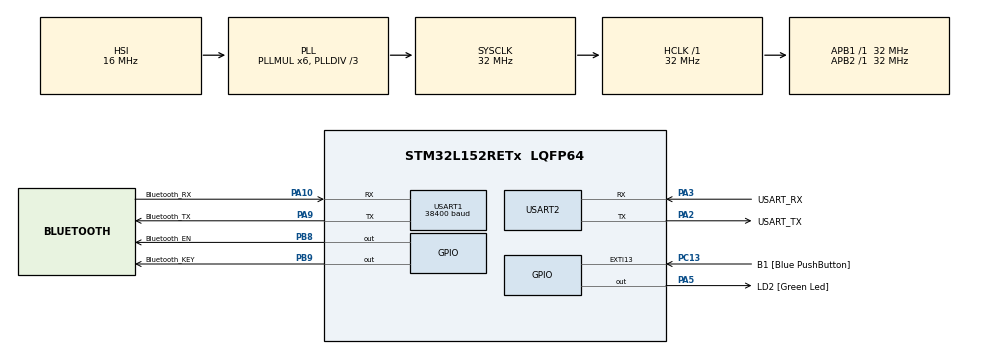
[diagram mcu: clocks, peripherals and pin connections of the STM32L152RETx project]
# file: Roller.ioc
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Mcu.Family=STM32L1
Mcu.Name=STM32L152RETx
Mcu.Package=LQFP64
NVIC.PriorityGroup=NVIC_PRIORITYGROUP_0
NVIC.USART1_IRQn=true\:0\:0\:false\:false\:true\:true
PA10.GPIO_Label=Bluetooth_RX
PA10.Mode=Asynchronous
PA10.Signal=USART1_RX
PA13.GPIO_Label=TMS
PA13.Mode=Serial_Wire
PA13.Signal=SYS_JTMS-SWDIO
PA14.GPIO_Label=TCK
PA14.Mode=Serial_Wire
PA14.Signal=SYS_JTCK-SWCLK
PA2.GPIO_Label=USART_TX
PA2.Mode=Asynchronous
PA2.Signal=USART2_TX
PA3.GPIO_Label=USART_RX
PA3.Mode=Asynchronous
PA3.Signal=USART2_RX
PA5.GPIO_Label=LD2 [Green Led]
PA5.Signal=GPIO_Output
PA9.GPIO_Label=Bluetooth_TX
PA9.Mode=Asynchronous
PA9.Signal=USART1_TX
PB3.GPIO_Label=SWO
PB3.Signal=SYS_JTDO-TRACESWO
PB8.GPIO_Label=Bluetooth_EN
PB8.Signal=GPIO_Output
PB9.GPIO_Label=Bluetooth_KEY
PB9.Signal=GPIO_Output
PC13-WKUP2.GPIO_Label=B1 [Blue PushButton]
PC13-WKUP2.Signal=GPXTI13
PC14-OSC32_IN.Mode=LSE-External-Oscillator
PC14-OSC32_IN.Signal=RCC_OSC32_IN
PC15-OSC32_OUT.Mode=LSE-External-Oscillator
PC15-OSC32_OUT.Signal=RCC_OSC32_OUT
PH0-OSC_IN.Mode=HSE-External-Clock-Source
PH0-OSC_IN.Signal=RCC_OSC_IN
PH1-OSC_OUT.Signal=RCC_OSC_OUT
ProjectManager.HeapSize=0x200
ProjectManager.StackSize=0x400
ProjectManager.TargetToolchain=MDK-ARM V5
RCC.48MHZClocksFreq_Value=48000000
RCC.AHBFreq_Value=32000000
RCC.APB1Freq_Value=32000000
RCC.APB1TimFreq_Value=32000000
RCC.APB2Freq_Value=32000000
RCC.APB2TimFreq_Value=32000000
RCC.HCLKFreq_Value=32000000
RCC.HSE_VALUE=8000000
RCC.HSI_VALUE=16000000
RCC.MSI_VALUE=2097000
RCC.PLLDIV=RCC_PLL_DIV3
RCC.PLLMUL=RCC_PLL_MUL6
RCC.RTCClockSelectionVirtual=RCC_RTCCLKSOURCE_LSE
RCC.SYSCLKFreq_VALUE=32000000
RCC.SYSCLKSource=RCC_SYSCLKSOURCE_PLLCLK
RCC.USBOutput=48000000
RCC.VCOOutputFreq_Value=96000000
USART1.BaudRate=38400
USART1.VirtualMode=VM_ASYNC
USART2.VirtualMode=VM_ASYNC
board=NUCLEO-L152RE

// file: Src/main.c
/* USER CODE BEGIN Header */
/**
  ******************************************************************************
  * @file           : main.c
  * @brief          : Main program body
  ******************************************************************************
  ** This notice applies to any and all portions of this file
  * that are not between comment pairs USER CODE BEGIN and
  * USER CODE END. Other portions of this file, whether
  * inserted by the user or by software development tools
  * are owned by their respective copyright owners.
  *
  * COPYRIGHT(c) 2020 STMicroelectronics
  *
  * Redistribution and use in source and binary forms, with or without modification,
  * are permitted provided that the following conditions are met:
  *   1. Redistributions of source code must retain the above copyright notice,
  *      this list of conditions and the following disclaimer.
  *   2. Redistributions in binary form must reproduce the above copyright notice,
  *      this list of conditions and the following disclaimer in the documentation
  *      and/or other materials provided with the distribution.
  *   3. Neither the name of STMicroelectronics nor the names of its contributors
  *      may be used to endorse or promote products derived from this software
  *      without specific prior written permission.
  *
  * THIS SOFTWARE IS PROVIDED BY THE COPYRIGHT HOLDERS AND CONTRIBUTORS "AS IS"
  * AND ANY EXPRESS OR IMPLIED WARRANTIES, INCLUDING, BUT NOT LIMITED TO, THE
  * IMPLIED WARRANTIES OF MERCHANTABILITY AND FITNESS FOR A PARTICULAR PURPOSE ARE
  * DISCLAIMED. IN NO EVENT SHALL THE COPYRIGHT HOLDER OR CONTRIBUTORS BE LIABLE
  * FOR ANY DIRECT, INDIRECT, INCIDENTAL, SPECIAL, EXEMPLARY, OR CONSEQUENTIAL
  * DAMAGES (INCLUDING, BUT NOT LIMITED TO, PROCUREMENT OF SUBSTITUTE GOODS OR
  * SERVICES; LOSS OF USE, DATA, OR PROFITS; OR BUSINESS INTERRUPTION) HOWEVER
  * CAUSED AND ON ANY THEORY OF LIABILITY, WHETHER IN CONTRACT, STRICT LIABILITY,
  * OR TORT (INCLUDING NEGLIGENCE OR OTHERWISE) ARISING IN ANY WAY OUT OF THE USE
  * OF THIS SOFTWARE, EVEN IF ADVISED OF THE POSSIBILITY OF SUCH DAMAGE.
  *
  ******************************************************************************
  */
/* USER CODE END Header */

#include "main.h"

UART_HandleTypeDef huart1;
UART_HandleTypeDef huart2;

void SystemClock_Config(void);
static void MX_GPIO_Init(void);
static void MX_USART2_UART_Init(void);
static void MX_USART1_UART_Init(void);
/* USER CODE BEGIN PFP */
static uint8_t * at_command(uint8_t input[100]);
/* USER CODE END PFP */

/* USER CODE BEGIN 0 */

#ifdef __GNUC__
  /* With GCC/RAISONANCE, small printf (option LD Linker->Libraries->Small printf
     set to 'Yes') calls __io_putchar() */
  #define PUTCHAR_PROTOTYPE int __io_putchar(int ch)
#else
  #define PUTCHAR_PROTOTYPE int fputc(int ch, FILE *f)
#endif /* __GNUC__ */
/**
  * @brief  Retargets the C library printf function to the USART.
  * @param  None
  * @retval None
  */
PUTCHAR_PROTOTYPE
{
  /* Place your implementation of fputc here */
  /* e.g. write a character to the EVAL_COM1 and Loop until the end of transmission */
  HAL_UART_Transmit(&huart2, (uint8_t *)&ch, 1, 0xFFFF);

  return ch;
}

/* USER CODE END 0 */

int main(void)
{

  /* MCU Configuration--------------------------------------------------------*/

  /* Reset of all peripherals, Initializes the Flash interface and the Systick. */
  HAL_Init();

  /* Configure the system clock */
  SystemClock_Config();

  /* Initialize all configured peripherals */
  MX_GPIO_Init();
  MX_USART2_UART_Init();
  MX_USART1_UART_Init();
  /* USER CODE BEGIN 2 */
  printf("INIT FINISH\n\r");
	HAL_Delay(1000);
	char res[100];
	HAL_GPIO_WritePin(Bluetooth_KEY_GPIO_Port, Bluetooth_KEY_Pin, GPIO_PIN_SET);
	HAL_GPIO_WritePin(Bluetooth_EN_GPIO_Port, Bluetooth_EN_Pin, GPIO_PIN_SET);

	HAL_Delay(1000);
	printf("address=%s", at_command("AT+ADDR?\r\n"));
	printf("uart=%s", at_command("AT+UART?\r\n"));
	at_command("AT+DISC\r\n");
	at_command("AT+ORGL\r\n");
	at_command("AT+RMAAD\r\n");
	at_command("AT+NAME=myDVC\r\n");
	printf("name=%s\n\r", at_command("AT+NAME?\r\n"));
	at_command("AT+ROLE=0\r\n");
	at_command("AT+UART=38400,0,0\r\n");
	HAL_Delay(100);
	HAL_GPIO_WritePin(Bluetooth_KEY_GPIO_Port, Bluetooth_KEY_Pin, GPIO_PIN_RESET);
	HAL_Delay(100);
	at_command("AT+RESET\r\n");

	HAL_Delay(1000);

  /* USER CODE END 2 */

  /* Infinite loop */
  while (1)
  {

    /* USER CODE BEGIN 3 */
		HAL_Delay(1000);
		HAL_UART_Transmit(&huart1, "data", 4, 0xFF);
		uint8_t data[100];
		HAL_UART_Receive(&huart1, data, 100, 0xFF);
		printf("s=%s", data);
  }
  /* USER CODE END 3 */
}

void SystemClock_Config(void)
{
  RCC_OscInitTypeDef RCC_OscInitStruct = {0};
  RCC_ClkInitTypeDef RCC_ClkInitStruct = {0};

  /**Configure the main internal regulator output voltage
  */
  __HAL_PWR_VOLTAGESCALING_CONFIG(PWR_REGULATOR_VOLTAGE_SCALE1);
  /**Initializes the CPU, AHB and APB busses clocks
  */
  RCC_OscInitStruct.OscillatorType = RCC_OSCILLATORTYPE_HSI;
  RCC_OscInitStruct.HSIState = RCC_HSI_ON;
  RCC_OscInitStruct.HSICalibrationValue = RCC_HSICALIBRATION_DEFAULT;
  RCC_OscInitStruct.PLL.PLLState = RCC_PLL_ON;
  RCC_OscInitStruct.PLL.PLLSource = RCC_PLLSOURCE_HSI;
  RCC_OscInitStruct.PLL.PLLMUL = RCC_PLL_MUL6;
  RCC_OscInitStruct.PLL.PLLDIV = RCC_PLL_DIV3;
  if (HAL_RCC_OscConfig(&RCC_OscInitStruct) != HAL_OK)
  {
    Error_Handler();
  }
  /**Initializes the CPU, AHB and APB busses clocks
  */
  RCC_ClkInitStruct.ClockType = RCC_CLOCKTYPE_HCLK|RCC_CLOCKTYPE_SYSCLK
                              |RCC_CLOCKTYPE_PCLK1|RCC_CLOCKTYPE_PCLK2;
  RCC_ClkInitStruct.SYSCLKSource = RCC_SYSCLKSOURCE_PLLCLK;
  RCC_ClkInitStruct.AHBCLKDivider = RCC_SYSCLK_DIV1;
  RCC_ClkInitStruct.APB1CLKDivider = RCC_HCLK_DIV1;
  RCC_ClkInitStruct.APB2CLKDivider = RCC_HCLK_DIV1;

  if (HAL_RCC_ClockConfig(&RCC_ClkInitStruct, FLASH_LATENCY_1) != HAL_OK)
  {
    Error_Handler();
  }
}

static void MX_USART1_UART_Init(void)
{

  huart1.Instance = USART1;
  huart1.Init.BaudRate = 38400;
  huart1.Init.WordLength = UART_WORDLENGTH_8B;
  huart1.Init.StopBits = UART_STOPBITS_1;
  huart1.Init.Parity = UART_PARITY_NONE;
  huart1.Init.Mode = UART_MODE_TX_RX;
  huart1.Init.HwFlowCtl = UART_HWCONTROL_NONE;
  huart1.Init.OverSampling = UART_OVERSAMPLING_16;
  if (HAL_UART_Init(&huart1) != HAL_OK)
  {
    Error_Handler();
  }

}

static void MX_USART2_UART_Init(void)
{

  huart2.Instance = USART2;
  huart2.Init.BaudRate = 115200;
  huart2.Init.WordLength = UART_WORDLENGTH_8B;
  huart2.Init.StopBits = UART_STOPBITS_1;
  huart2.Init.Parity = UART_PARITY_NONE;
  huart2.Init.Mode = UART_MODE_TX_RX;
  huart2.Init.HwFlowCtl = UART_HWCONTROL_NONE;
  huart2.Init.OverSampling = UART_OVERSAMPLING_16;
  if (HAL_UART_Init(&huart2) != HAL_OK)
  {
    Error_Handler();
  }

}

static void MX_GPIO_Init(void)
{
  GPIO_InitTypeDef GPIO_InitStruct = {0};

  /* GPIO Ports Clock Enable */
  __HAL_RCC_GPIOC_CLK_ENABLE();
  __HAL_RCC_GPIOH_CLK_ENABLE();
  __HAL_RCC_GPIOA_CLK_ENABLE();
  __HAL_RCC_GPIOB_CLK_ENABLE();

  /*Configure GPIO pin Output Level */
  HAL_GPIO_WritePin(LD2_GPIO_Port, LD2_Pin, GPIO_PIN_RESET);

  /*Configure GPIO pin Output Level */
  HAL_GPIO_WritePin(GPIOB, Bluetooth_EN_Pin|Bluetooth_KEY_Pin, GPIO_PIN_RESET);

  /*Configure GPIO pin : B1_Pin */
  GPIO_InitStruct.Pin = B1_Pin;
  GPIO_InitStruct.Mode = GPIO_MODE_IT_RISING;
  GPIO_InitStruct.Pull = GPIO_NOPULL;
  HAL_GPIO_Init(B1_GPIO_Port, &GPIO_InitStruct);

  /*Configure GPIO pin : LD2_Pin */
  GPIO_InitStruct.Pin = LD2_Pin;
  GPIO_InitStruct.Mode = GPIO_MODE_OUTPUT_PP;
  GPIO_InitStruct.Pull = GPIO_NOPULL;
  GPIO_InitStruct.Speed = GPIO_SPEED_FREQ_LOW;
  HAL_GPIO_Init(LD2_GPIO_Port, &GPIO_InitStruct);

  /*Configure GPIO pins : Bluetooth_EN_Pin Bluetooth_KEY_Pin */
  GPIO_InitStruct.Pin = Bluetooth_EN_Pin|Bluetooth_KEY_Pin;
  GPIO_InitStruct.Mode = GPIO_MODE_OUTPUT_PP;
  GPIO_InitStruct.Pull = GPIO_NOPULL;
  GPIO_InitStruct.Speed = GPIO_SPEED_FREQ_LOW;
  HAL_GPIO_Init(GPIOB, &GPIO_InitStruct);

}

/* USER CODE BEGIN 4 */
uint8_t * at_command(uint8_t input[100]) {
	static uint8_t result[100];
	for (int i = 0; i < 100; i++) {
		result[i] = 0;
	}
	//memset(result, 0, strlen(result));
	HAL_Delay(100);
	HAL_UART_Transmit(&huart1, input, strlen(input), 0xFF);
	HAL_UART_Receive(&huart1, result, 100, 0xFF);
	HAL_Delay(100);
	printf("%s='%s'\n\r", input, result);
	HAL_Delay(100);
	return result;
}
/* USER CODE END 4 */

void Error_Handler(void)
{
}

/************************ (C) COPYRIGHT STMicroelectronics *****END OF FILE****/
